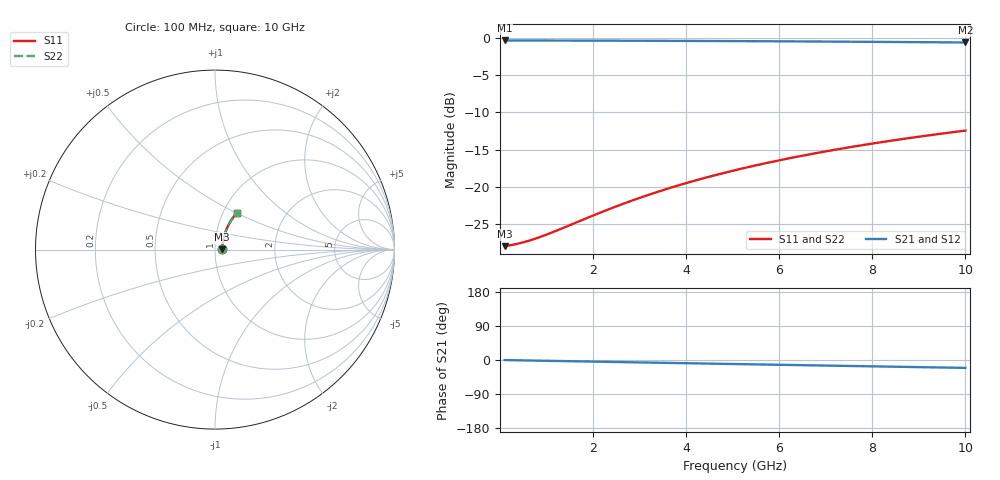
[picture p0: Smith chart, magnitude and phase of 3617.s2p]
# Hz S RI R 50.00
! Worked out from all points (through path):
!   100 points, 100 MHz to 10 GHz, reference 50 ohm
!   highest |S21| = -0.35 dB at 100 MHz (marker M1); lowest = -0.6 dB at 10 GHz (marker M2)
!   group delay of S21, straight-line fit = 5.79 ps
!   lowest |S11| = -28.0 dB at 100 MHz (marker M3), VSWR 1.08, Z = 54.2 + j0.25 ohm
!   |S11| at or under -10 dB: start of sweep to end of sweep
!   |S22| runs from -28.0 to -12.4 dB; largest |S21 - S12| = 0
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1e8  0.04 0.00231  0.96 -0.00356  0.96 -0.00356  0.04 0.00231
3e8  0.0405 0.00691  0.9595 -0.0107  0.9595 -0.0107  0.0405 0.00691
4e8  0.0407 0.00921  0.9593 -0.0142  0.9593 -0.0142  0.0407 0.00921
6e8  0.0411 0.0138  0.9589 -0.0213  0.9589 -0.0213  0.0411 0.0138
8e8  0.0415 0.0184  0.9584 -0.0284  0.9584 -0.0284  0.0415 0.0184
1.2e9  0.0425 0.0275  0.9574 -0.0426  0.9574 -0.0426  0.0425 0.0275
1.8e9  0.0444 0.0412  0.9554 -0.0637  0.9554 -0.0637  0.0444 0.0412
2.2e9  0.0459 0.0502  0.9537 -0.0778  0.9537 -0.0778  0.0459 0.0502
2.6e9  0.0477 0.0592  0.9518 -0.0918  0.9518 -0.0918  0.0477 0.0592
3e9  0.0497 0.0681  0.9495 -0.1057  0.9495 -0.1057  0.0497 0.0681
3.4e9  0.052 0.077  0.9471 -0.1196  0.9471 -0.1196  0.052 0.077
3.8e9  0.0545 0.0857  0.9443 -0.1334  0.9443 -0.1334  0.0545 0.0857
4.2e9  0.0573 0.0944  0.9413 -0.147  0.9413 -0.147  0.0573 0.0944
4.6e9  0.0603 0.103  0.938 -0.1606  0.938 -0.1606  0.0603 0.103
5.1e9  0.0644 0.1135  0.9335 -0.1774  0.9335 -0.1774  0.0644 0.1135
5.5e9  0.0679 0.1218  0.9296 -0.1908  0.9296 -0.1908  0.0679 0.1218
5.9e9  0.0717 0.13  0.9254 -0.204  0.9254 -0.204  0.0717 0.13
6.7e9  0.0799 0.1459  0.9164 -0.23  0.9164 -0.23  0.0799 0.1459
7.5e9  0.089 0.1612  0.9064 -0.2554  0.9064 -0.2554  0.089 0.1612
8.4e9  0.1001 0.1777  0.8941 -0.2832  0.8941 -0.2832  0.1001 0.1777
9.2e9  0.1108 0.1916  0.8822 -0.3072  0.8822 -0.3072  0.1108 0.1916
1e10  0.1222 0.2048  0.8696 -0.3305  0.8696 -0.3305  0.1222 0.2048
